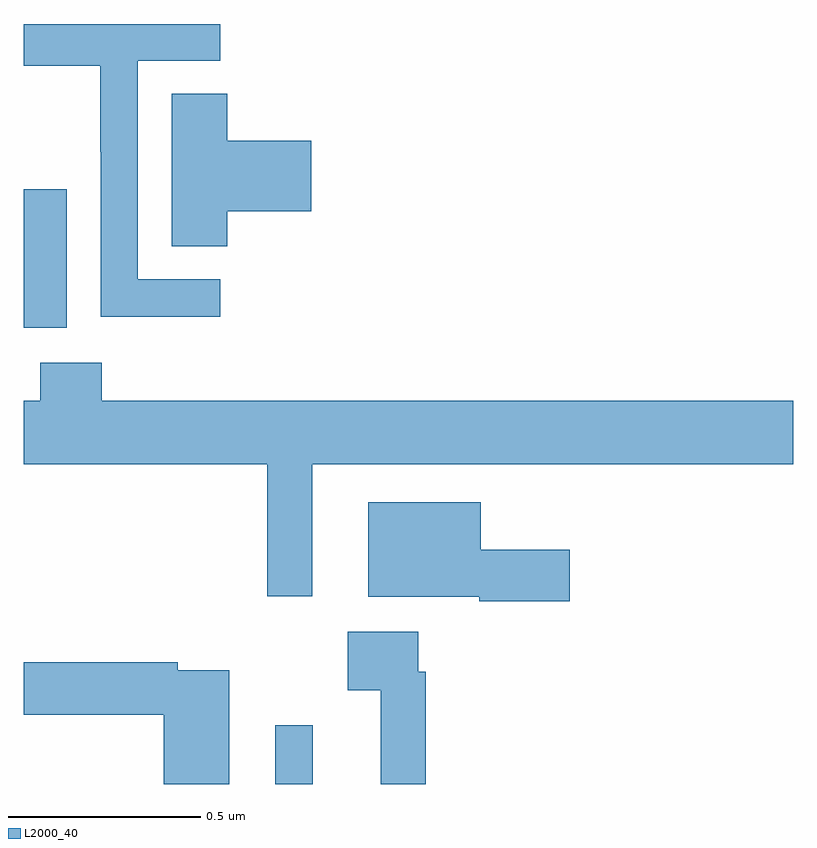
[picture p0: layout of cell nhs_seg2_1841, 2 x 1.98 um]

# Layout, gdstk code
import gdstk
lib = gdstk.Library(unit=1e-6, precision=1e-09)
def R(c, l, rs):  # rectangles x0, y0, x1, y1
    for r in rs: c.add(gdstk.rectangle(r[:2], r[2:], *l))
def P(c, l, *ps):  # polygons
    for p in ps: c.add(gdstk.Polygon(p, *l))
L2000_40 = (2000, 40)

nhs_seg2_1841 = lib.new_cell('nhs_seg2_1841')
R(nhs_seg2_1841, L2000_40, [(133.653,650.8,133.751,650.953), (133,651.986,133.111,652.347)])
P(nhs_seg2_1841, L2000_40, [(133.51,652.113),(133.296,652.113),(133.296,652.68),(133.51,652.68),(133.51,652.776),(133,652.776),(133,652.668),(133.198,652.668),(133.198,652.444),(133.2,652.444),(133.2,652.015),(133.51,652.015)],
  [(133.529,652.289),(133.747,652.289),(133.747,652.472),(133.529,652.472),(133.529,652.595),(133.385,652.595),(133.385,652.198),(133.529,652.198)],
  [(133.75,651.632),(135,651.632),(135,651.796),(133.202,651.796),(133.202,651.895),(133.042,651.895),(133.042,651.796),(133,651.796),(133,651.632),(133.633,651.632),(133.633,651.288),(133.75,651.288)],
  [(134.419,651.409),(134.188,651.409),(134.188,651.532),(133.895,651.532),(133.895,651.287),(134.184,651.287),(134.184,651.275),(134.419,651.275)],
  [(134.045,651.092),(134.025,651.092),(134.025,651.196),(133.842,651.196),(133.842,651.044),(133.928,651.044),(133.928,650.8),(134.045,650.8)],
  [(133.534,651.096),(133.4,651.096),(133.4,651.116),(133,651.116),(133,650.98),(133.364,650.98),(133.364,650.8),(133.534,650.8)])

lib.write_gds('nhs_seg2_1841.gds')
